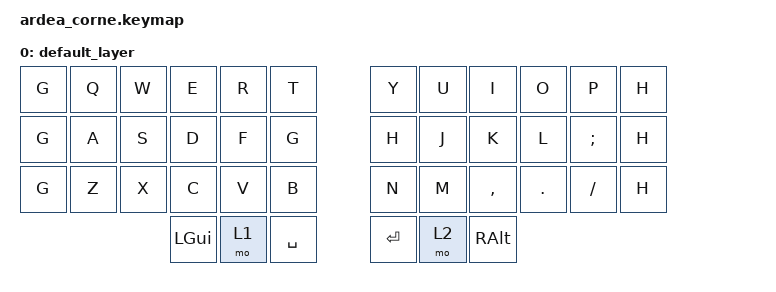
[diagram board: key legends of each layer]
#include <behaviors.dtsi>
#include <dt-bindings/zmk/keys.h>

/ {
        keymap {
                compatible = "zmk,keymap";

                default_layer {
// -----------------------------------------------------------------------------------------
// |  Q  |  W  |  E  |  R  |  T  |   |  Y  |  U   |  I  |  O  |  P  |
// |  A  |  S  |  D  |  F  |  G  |   |  H  |  J   |  K  |  L  |  ;  |
// |  Z  |  X  |  C  |  V  |  B  |   |  N  |  M   |  ,  |  .  |  /  |
//             | GUI | LWR | SPC |   | ENT | RSE  | ALT |
                        bindings = <
   
   &kp G &kp Q &kp W &kp E &kp R &kp T   &kp Y &kp U  &kp I     &kp O   &kp P &kp H
   &kp G &kp A &kp S &kp D &kp F &kp G   &kp H &kp J  &kp K     &kp L   &kp SEMI &kp H
   &kp G &kp Z &kp X &kp C &kp V &kp B   &kp N &kp M  &kp COMMA &kp DOT &kp FSLH &kp H
               &kp LGUI &mo 1 &kp SPACE   &kp RET &mo 2 &kp RALT
                        >;
                };
        };
};
